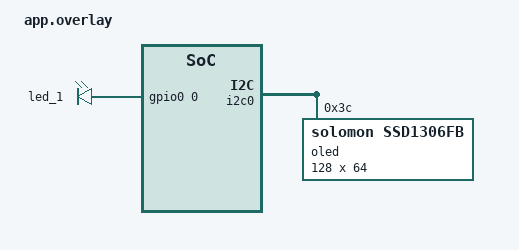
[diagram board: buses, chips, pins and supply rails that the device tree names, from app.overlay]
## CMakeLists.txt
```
cmake_minimum_required(VERSION 3.20.0)
set(BOARD xiao_esp32c3)
find_package(Zephyr REQUIRED HINTS $ENV{ZEPHYR_BASE})
project(devboard)

zephyr_include_directories(include)

target_sources(app PRIVATE
        src/main.c
        src/ssd1306.c)
```

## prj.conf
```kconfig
CONFIG_CONSOLE=y
CONFIG_SERIAL=y
CONFIG_UART_CONSOLE=y
CONFIG_GPIO=y
```

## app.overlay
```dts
/{
	aliases{
		led0=&led_1;
	};
	leds{
		compatible = "gpio-leds";
		led_1:led_1{
			gpios=<&gpio0 0 GPIO_ACTIVE_HIGH>;
		};
	};
};




&i2c0{
	compatible = "espressif,esp32-i2c";
	pinctrl-0 = <&i2c0_default>;
	pinctrl-names = "default";
	status ="okay";
	oled: ssd1306@3c{
		compatible= "solomon,ssd1306fb";

		reg=<0x3c>;
		segment-offset = <0>;
		page-offset = <0>;
		display-offset = <0>;
		multiplex-ratio = <63>;
		prechargep = <0x22>;
		width = <128>;
		height = <64>;
	};

};

&pinctrl{
	i2c0_default: i2c0_default {
		group1 {
			pinmux = <I2C0_SDA_GPIO1>,
				 <I2C0_SCL_GPIO2>;
			bias-pull-up;
			drive-open-drain;
			output-high;
		};
	};
};
```

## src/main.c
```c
#include <zephyr/kernel.h>
#include <zephyr/device.h>
#include <zephyr/drivers/gpio.h>
#include <zephyr/drivers/i2c.h>
#include <zephyr/drivers/display.h>
#include <zephyr/display/cfb.h>
#include "ssd1306.h"

#define LED0 DT_ALIAS(led0)

static const struct gpio_dt_spec led = GPIO_DT_SPEC_GET(LED0, gpios);

static const struct device *oled = DEVICE_DT_GET(DT_NODELABEL(oled));

int main(void){

    if(!device_is_ready(led.port)){
        return -ENODEV;
    }

    if(!device_is_ready(oled)){
        return -ENODEV;
    }

    gpio_pin_configure_dt(&led, GPIO_OUTPUT_ACTIVE);

    if (display_set_pixel_format(oled, PIXEL_FORMAT_MONO10) != 0) {
        display_set_pixel_format(oled, PIXEL_FORMAT_MONO01);
    }

    if (cfb_framebuffer_init(oled)) {
        return -EIO;
    }

    cfb_framebuffer_clear(oled, true);
    display_blanking_off(oled);

    while (1){
        gpio_pin_toggle_dt(&led);

        draw_menu(oled, 0);

        k_msleep(1000);
    }

    return 0;
}
```

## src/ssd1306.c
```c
#include "ssd1306.h"
#include <zephyr/kernel.h>
#include <zephyr/device.h>
#include <zephyr/drivers/gpio.h>
#include <zephyr/drivers/i2c.h>
#include <zephyr/drivers/display.h>
#include <zephyr/display/cfb.h>
#include <stdio.h>

static const char *menu_items[] = {
    "Item 1",
    "Item 2",
    "Item 3",
};

#define NB_ITEMS (sizeof(menu_items) / sizeof(menu_items[0]))

void draw_menu(const struct device *dev, int selected)
{
    uint8_t font_w, font_h;
    cfb_get_font_size(dev, 0, &font_w, &font_h); /* hauteur de ligne */

    cfb_framebuffer_clear(dev, false);

    for (int i = 0; i < NB_ITEMS; i++) {
        cfb_print(dev, menu_items[i], 0, i * font_h);
    }

    /* surligne la ligne sélectionnée en inversant ses pixels */
    cfb_invert_area(dev, 0, selected * font_h,
                     cfb_get_display_parameter(dev, CFB_DISPLAY_WIDTH),
                     font_h);

    cfb_framebuffer_finalize(dev);
}
```

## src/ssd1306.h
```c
#ifndef SSD1306_H
#define SSD1306_H

#include <zephyr/device.h>

void draw_menu(const struct device *dev, int selected);

#endif
```
